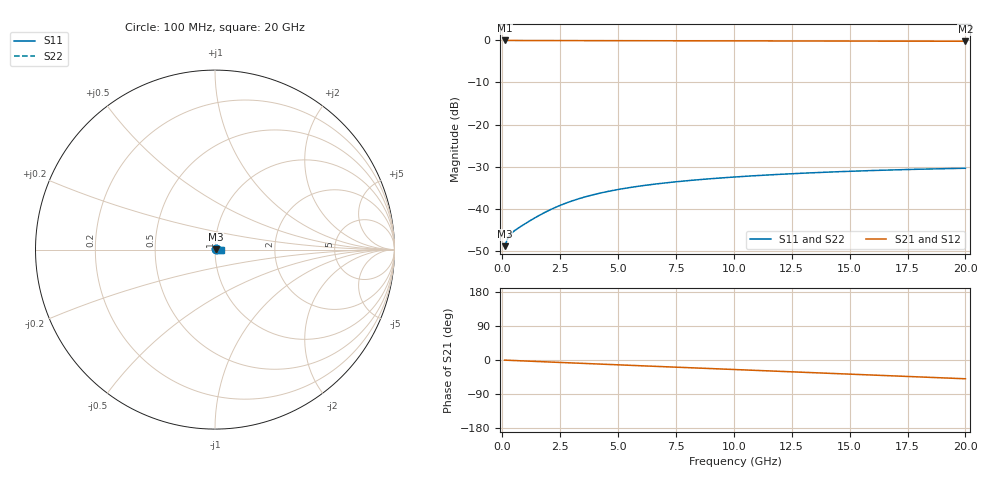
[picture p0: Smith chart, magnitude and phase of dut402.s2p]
! Touchstone file exported from HFSS 2026.1.0
!  File:  C:/ffzhzh/LocalFiles/Ansys_Project_Files/temp_train_BSMRDL_402_1783012367_46388.aedt
!  Generated:  01:14:16 AM Jul  3, 2026
!  Design:  BSMRDL
!  Project:  temp_train_BSMRDL_402_1783012367_46388
! Variables:
!  h_bsmrdl = 5.34um
!  h_ox = 20um
!  h_rdl = 5um
!  h_sub = 80um
!  h_tmrdl = 5um
!  h_tsv = 80um
!  h_via = 3um
!  l_bsmrdl = 900.84um
!  l_sub = 1300.84um
!  l_tmrdl = 200um
!  m_sub = 200um
!  pitch = 24.02um
!  r_tsv = 6um
!  s_tmrdl = 10um
!  w_bsmrdl = 18.6um
!  w_sub = 500um
!  w_tmrdl = 12um
!  x_tsv_center1 = 206um
!  x_tsv_center2 = 1125.44um
!  x_tsv_center3 = 1337.44um
!  x_tsv_center4 = 2256.88um
!  x_tsv_center5 = 2468.88um
!  x_tsv_center6 = 3388.32um
# GHz S MA R 50.000000
! Terminal data exported
! Port[1] = BSM_RDL1_1_T1
! Port[2] = BSM_RDL1_1_T2
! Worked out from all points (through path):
!   200 points, 100 MHz to 20 GHz, reference 50 ohm
!   highest |S21| = -0.03 dB at 100 MHz (marker M1); lowest = -0.2 dB at 20 GHz (marker M2)
!   group delay of S21, straight-line fit = 6.85 ps
!   lowest |S11| = -48.8 dB at 100 MHz (marker M3), VSWR 1.01, Z = 50.4 + j0.0974 ohm
!   |S11| at or under -10 dB: start of sweep to end of sweep
!   |S22| runs from -48.8 to -30.1 dB; largest |S21 - S12| = 3.6e-15
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0.1  0.003626 15.5  0.9965 -0.3  0.9965 -0.3  0.003626 15.5
! Gamma 0 0 0 0
! Port Impedance 50 0 50 0
0.2  0.004271 21.8  0.996 -0.6  0.996 -0.6  0.004271 21.8
0.3  0.004783 24.0  0.9957 -0.8  0.9957 -0.8  0.004783 24.0
0.4  0.005156 25.4  0.9954 -1.1  0.9954 -1.1  0.005156 25.3
0.5  0.005453 26.7  0.9952 -1.4  0.9952 -1.4  0.005453 26.7
0.6  0.005716 28.2  0.995 -1.6  0.995 -1.6  0.005716 28.2
1  0.006731 33.9  0.9946 -2.6  0.9946 -2.6  0.006732 33.9
1.6  0.008415 39.4  0.9939 -4.2  0.9939 -4.2  0.008418 39.3
1.9  0.009298 40.7  0.9935 -5.0  0.9935 -5.0  0.009304 40.7
2.2  0.01018 41.4  0.993 -5.7  0.993 -5.7  0.01019 41.3
2.8  0.01189 41.4  0.9921 -7.3  0.9921 -7.3  0.01191 41.3
3.5  0.01373 40.1  0.9909 -9.0  0.9909 -9.0  0.01375 40.0
4.2  0.01538 38.2  0.9898 -10.8  0.9898 -10.8  0.01541 38.1
5  0.01703 35.7  0.9885 -12.8  0.9885 -12.8  0.01707 35.6
5.8  0.01848 33.1  0.9873 -14.8  0.9873 -14.8  0.01853 33.0
6.8  0.02005 30.0  0.986 -17.2  0.986 -17.2  0.02013 29.8
8.3  0.02205 25.6  0.9843 -20.9  0.9843 -20.9  0.02217 25.4
10.1  0.02404 20.7  0.9825 -25.3  0.9825 -25.3  0.02422 20.3
11.7  0.02554 16.5  0.9811 -29.3  0.9811 -29.3  0.02578 16.0
13.4  0.0269 12.1  0.9797 -33.4  0.9797 -33.4  0.02722 11.6
16.7  0.02899 3.8  0.9772 -41.5  0.9772 -41.5  0.02948 3.1
20  0.03042 -4.2  0.975 -49.5  0.975 -49.5  0.03111 -5.2
